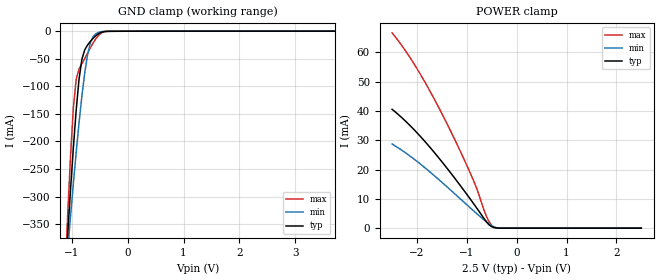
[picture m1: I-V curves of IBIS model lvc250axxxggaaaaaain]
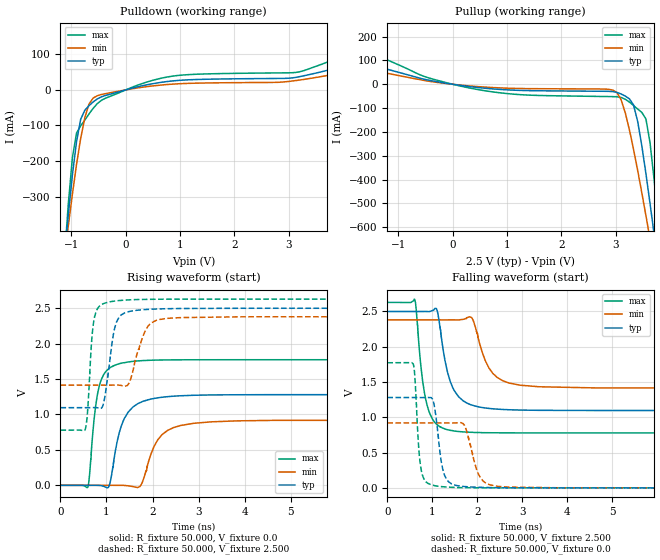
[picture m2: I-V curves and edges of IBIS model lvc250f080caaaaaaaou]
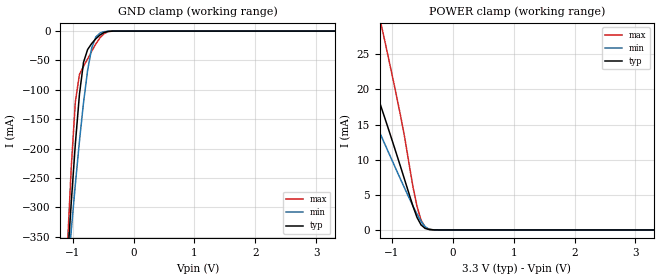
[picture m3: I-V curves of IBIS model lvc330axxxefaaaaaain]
| IBIS Models Generator: Lattice Diamond (64-bit) 3.13.0.56.2
| Generate date: Sun Jun 23 23:00:29 2024
| IBIS File main_fixed.ibs
| Cadence Design Systems, Inc. 2011
[IBIS ver] 3.2
[File Name]   CS_project_CS_imple~.ibs
[File Rev]  0.6
[Date]   Thu Jan 11 10:21:36 CST 2018
[Source]   Lattice Semiconductor cs200fl Process
   LCMXO3D-9400HC   FINAL
   "Test Release - internal Lattice use ONLY"
   Lattice Semiconductor has worked hard to ensure the
   models below are accurate and complete.  However, the
   data below was generated using simulation of the
   input/output model files for the silicon.  Therefore,
   the data below is for reference and initial design
   purposes only.
   Lattice Semiconductor grants permission to use this
   data for use in printed circuit design using this
   Lattice programmable logic device.  Other use of this
   code, including the selling or duplication of any
   portion is strictly prohibited.
|   NAMING CONVENTION
   The IBIS [Model] header is limited by the specification to a
   total of characters.  With such a set of characters available
   for naming models it becomes important to attempt to
   meaningfully encode the IO standards so they fit within the
   twenty character limit.  It would seem that twenty characters
   would provide room enough for describing IO's.  However, the
   PLD IO structure continues to grow more and more complex.  The
   complexity is making the twenty characters insuffiently
   descriptive.  In order to overcome this issue the naming
   convention described below is implemented to resolve the issue.
The twenty character space is managed as follows:
   bbbvvvsdddprugtcoixx
   b = standard
   v = voltage (x.xx V)
   s = slew code
   d = drive (xx.x ma)
   p = pullup code
   r = series resistance  or bank_vccio code
   u = terminate to vcc code
   g = terminate to gnd code
   t = terminate to vtt code
   c = common mode termination mode
   o = diff resistor code
   i = diff resistor current code
   x = reserved
   standard
   LVCMOS   lvc
   lvcmosd   lvd
   lvcmosr   lvr
   LVDS25E   lve
   LVTTL   lvt
   lvttld   ltd
   PCI   pci
   pcix   pcx
   lvds25   lvs
   blvds25   blv
   blvds25e   blv
   mlvds25   mlv
   mlvds25e   mle
   lvpecl   lvp
   lvpecl33   lvp
   lvpecl33e   lvp
   cml   cml
   hypt   hyp
   rsds25   rsd
   rsds25e   rse
   mipi_lp   mip
   mipi   mip
   vref1   vr1
   vref2   vr2
   ref_res   rer
   i3c33   i3c
   i3c18   i3c
   i3c12   i3c
   slew
   na   a
   fast   f
   slow   s
   pullmode
   off   a
   pullup   b
   pulldown   c
   bushold   d
   clamp   e
   up_clamp   f
   down_clamp   g
   keeper_clamp   h
   i3c_clamp   e
   impedance or Bank_vccio
   off   a
   25   b
   33   c
   50   d
   100   e
   3.3   f
   2.5   g
   1.8   h
   1.5   i
   1.2   j
   termVCC
   off   a
   50   b
   100   c
   120   d
   termGND
   off   a
   50   b
   100   c
   120   d
   termVTT
   off   a
   60   b
   75   c
   120   d
   150   e
   210   f
   VCMT
   off   a
   VCMT   b
   VTT   c
   DDR-2   d
   differential resistor
   off   a
   100   b
   diff drive
   NA   a
   2.0   b
   3.5   c
   1.25   f
   2.5   g
   Reserved   IO type
   in   input only
   ou   output
   io   I/O
   od   Open drain
   on   Inverting differential I/O
   (signal name only)
   op   Non-Inverting differential I/O
   (signal name only)
   Lattice Semiconductor Corporation
   5555 NE Moore Court
   Hillsboro, OR 97214
   U.S.A
   TEL: 1-800-Lattice (USA and Canada)
   408-826-6000 (other locations)
   web: http://www.latticesemi.com/
   email: techsupport@latticesemi.com
[Disclaimer]  This IBIS source code is intended as a design reference which
  illustrates how the Lattice Semiconductor device operates. It is the user's
  responsibility to verify their design for consistency and functionality
  through the use of formal verification methods. Lattice Semiconductor
  provides no warranty regarding the use or functionality of this data.
[Copyright] Copyright 2007 by Lattice Semiconductor Corporation
|   Component XO3D
[Component] XO3D
[Manufacturer] Lattice Semiconductor Corp.
[Package]
|CABGA256_9400
|varibale   typ   min   max
R_pkg   230.24m   185.88m   297.14m
L_pkg   3.46nH   2.215nH   5.403nH
C_pkg   0.5928pF   0.3835pF   0.8599pF
[Pin]  signal_name   model_name   R_pin   L_pin   C_pin
F2   BLUE[0]   lvc330f080baaaaaaaou
F1   BLUE[1]   lvc330f080baaaaaaaou
N6   BLUE[2]   lvc250f080caaaaaaaou
N7   BLUE[3]   lvc250f080caaaaaaaou
G2   GREEN[0]   lvc330f080baaaaaaaou
H2   GREEN[1]   lvc330f080baaaaaaaou
J3   GREEN[2]   lvc330f080baaaaaaaou
L7   GREEN[3]   lvc250f080caaaaaaaou
J1   HSYNC   lvc330f080baaaaaaaou
H11   LEDS[0]   lvc330f080baaaaaaaou
J13   LEDS[1]   lvc330f080baaaaaaaou
J11   LEDS[2]   lvc330f080baaaaaaaou
L12   LEDS[3]   lvc330f080baaaaaaaou
K11   LEDS[4]   lvc330f080baaaaaaaou
L13   LEDS[5]   lvc330f080baaaaaaaou
N15   LEDS[6]   lvc330f080baaaaaaaou
P16   LEDS[7]   lvc330f080baaaaaaaou
G1   RED[0]   lvc330f080baaaaaaaou
H1   RED[1]   lvc330f080baaaaaaaou
H3   RED[2]   lvc330f080baaaaaaaou
P7   RED[3]   lvc250f080caaaaaaaou
J2   VSYNC   lvc330f080baaaaaaaou
P1   btnHS   lvc330axxxffaaaaaain
N2   btnUART   lvc330axxxffaaaaaain
R1   btnVGA   lvc330axxxffaaaaaain
P2   btnVS   lvc330axxxffaaaaaain
C8   clk   lvc330axxxefaaaaaain
F5   in   lvc330axxxffaaaaaain
E3   out   lvc330f080baaaaaaaou
L8   rst_n   lvc250axxxggaaaaaain
| Models and submodels in the file (5): lvc250axxxggaaaaaain (Input), lvc250f080caaaaaaaou (Output), lvc330axxxefaaaaaain (Input), lvc330axxxffaaaaaain (Input), lvc330f080baaaaaaaou (Output)
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[Model] lvc250axxxggaaaaaain
Model_type Input
Polarity   Non-Inverting
Enable   Active-High
Vinl =  0.700V
Vinh =  1.700V
C_comp   4.200pF   3.800pF   7.500pF
[Temperature Range]   25.000   0.105k   -40.000
[Voltage Range]   2.500V   2.380V   2.630V
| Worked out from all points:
|   GND clamp passes 1 mA (typ) near -0.43 V on its own axis
|   POWER clamp passes 1 mA (typ) near -0.54 V on its own axis
[GND_clamp]
|Voltage   I(typ)   I(min)   I(max)
-2.5V     -2.99A     -2.35A     -4.091A
-1.123V   -455.1mA   -463.2mA   -453.7mA
-1.072V   -370.5mA   -399.5mA   -336.3mA
-1.021V   -289.2mA   -337.4mA   -228.6mA
-970mV    -212.6mA   -277.4mA   -140mA
-919mV    -143.6mA   -220.1mA   -87.4mA
-868mV    -87.39mA   -166.5mA   -68.45mA
-817mV    -50.94mA   -117.8mA   -59.13mA
-715mV    -24.99mA   -42.37mA   -39.7mA
-562mV    -7.608mA   -4.125mA   -12.95mA
-307mV    -97.66uA   -51.76uA   -173.8uA
5V        114uA      49.35uA    266.8uA
[POWER_clamp]
|Voltage   I(typ)   I(min)   I(max)
-2.5V     40.55mA    28.7mA     66.64mA
-2.294V   37.53mA    26.47mA    62.05mA
-2.039V   33.25mA    23.31mA    55.5mA
-1.58V    24.33mA    16.84mA    41.69mA
-1.223V   16.6mA     11.41mA    29.54mA
-917mV    9.596mA    6.709mA    18.24mA
-815mV    7.18mA     5.166mA    14.11mA
-611mV    2.243mA    2.205mA    4.167mA
-509mV    558uA      921.7uA    1.059mA
-458mV    208uA      438.7uA    350.8uA
-254mV    2.162uA    3.635uA    1.029uA
2.5V      0A         0A         0A
[Model] lvc250f080caaaaaaaou
Model_type Output
Polarity   Non-Inverting
Enable   Active-High
Vmeas =  1.250V
Cref =  0.0F
Rref =  1.000M
Vref =  0.0V
C_comp   4.200pF   3.800pF   7.500pF
[Temperature Range]   25.000   0.105k   -40.000
[Voltage Range]   2.500V   2.380V   2.630V
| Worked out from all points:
|   slope of the pulldown table from 0 to 0.375 V, typ, clamps not added: 27 ohm
|   slope of the pullup table from 0 to 0.375 V, typ, clamps not added: 32.5 ohm
|   rising waveform, R_fixture 50.000, V_fixture 0.0: 20-80 % time 325ps typ, 401ps min, 193ps max; typ from 0 V to 1.28 V
|   rising waveform, R_fixture 50.000, V_fixture 2.500: 20-80 % time 185ps typ, 277ps min, 110ps max; typ from 1.1 V to 2.5 V
|   falling waveform, R_fixture 50.000, V_fixture 2.500: 20-80 % time 303ps typ, 376ps min, 220ps max; typ from 2.5 V to 1.09 V
|   falling waveform, R_fixture 50.000, V_fixture 0.0: 20-80 % time 158ps typ, 243ps min, 103ps max; typ from 1.28 V to 0 V
[Pulldown]
|Voltage   I(typ)   I(min)   I(max)
-2.5V     -2.991A    -2.35A     -4.092A
-1.132V   -475mA     -476.9mA   -485.2mA
-1.056V   -351.6mA   -382.8mA   -321.7mA
-980mV    -239mA     -292.8mA   -190.2mA
-904mV    -145.4mA   -209.4mA   -121mA
-828mV    -82.6mA    -136.3mA   -101mA
-676mV    -44.46mA   -39.99mA   -67.9mA
-524mV    -25.56mA   -16.43mA   -38.82mA
236mV     9.262mA    5.959mA    14.32mA
844mV     24.96mA    16.05mA    38.3mA
3.2V      37.32mA    27.83mA    50.99mA
5V        114.2mA    81.55mA    172.5mA
[Pullup]
|Voltage   I(typ)   I(min)   I(max)
-2.5V     142.5mA    103.1mA    233mA
-548mV    22.43mA    17.12mA    35.15mA
136mV     -4.464mA   -3.242mA   -7.127mA
2.948V    -30.82mA   -24.51mA   -51.85mA
3.1V      -40.88mA   -65.28mA   -55.33mA
3.328V    -86.97mA   -272.6mA   -88.95mA
3.404V    -155.7mA   -361.4mA   -104.1mA
3.556V    -375mA     -551.2mA   -145.3mA
3.632V    -500.8mA   -649.9mA   -245.9mA
3.708V    -631.5mA   -750.2mA   -403.3mA
3.784V    -765.1mA   -851.7mA   -581.6mA
5V        -3.022A    -2.541A    -3.796A
[Ramp]
| variable   typ   min   max
dV/dt_r   0.768/0.324n   0.552/0.395n   1.063/0.189n
dV/dt_f   0.842/0.305n   0.580/0.364n   1.109/0.219n
R_load = 50.000
[Rising Waveform]
R_fixture= 50.000
V_fixture= 0.0
V_fixture_min= 0.0
V_fixture_max= 0.0
|time   V(typ)   V(min)   V(max)
0s        6.01nV     44.68nV    20.69nV
596ps     41.6uV     -3.088uV   -23.3mV
798ps     -160.4uV   -3.088uV   1.262V
1.039ns   -29.88mV   21.18uV    1.64V
1.28ns    749.3mV    29.94uV    1.716V
1.471ns   1.033V     -7.047mV   1.74V
1.752ns   1.173V     6.728mV    1.758V
2.208ns   1.243V     715.9mV    1.768V
3.27ns    1.275V     895.4mV    1.772V
20ns      1.279V     919.6mV    1.772V
[Rising Waveform]
R_fixture= 50.000
V_fixture= 2.500
V_fixture_min= 2.380
V_fixture_max= 2.630
|time   V(typ)   V(min)   V(max)
0s        1.096V     1.413V     778.2mV
541ps     1.096V     1.413V     794.5mV
588ps     1.096V     1.413V     1.033V
711ps     1.096V     1.413V     2.261V
891ps     1.088V     1.413V     2.549V
1.174ns   2.208V     1.414V     2.599V
1.455ns   2.446V     1.409V     2.615V
1.842ns   2.48V      2.18V      2.623V
2.313ns   2.492V     2.355V     2.626V
20ns      2.498V     2.379V     2.627V
[Falling Waveform]
R_fixture= 50.000
V_fixture= 2.500
V_fixture_min= 2.380
V_fixture_max= 2.630
|time   V(typ)   V(min)   V(max)
0s        2.498V     2.379V     2.627V
611ps     2.498V     2.379V     2.667V
824ps     2.499V     2.379V     1.349V
1.088ns   2.54V      2.379V     905.1mV
1.337ns   1.639V     2.379V     823.5mV
1.492ns   1.372V     2.379V     804.5mV
1.872ns   1.174V     2.413V     787mV
2.446ns   1.115V     1.561V     780mV
3.371ns   1.098V     1.432V     778.3mV
20ns      1.095V     1.413V     778.1mV
[Falling Waveform]
R_fixture= 50.000
V_fixture= 0.0
V_fixture_min= 0.0
V_fixture_max= 0.0
|time   V(typ)   V(min)   V(max)
0s        1.279V     919.6mV    1.772V
576ps     1.279V     919.6mV    1.755V
757ps     1.279V     919.7mV    240.1mV
1.004ns   1.258V     919.7mV    38.03mV
1.132ns   737.5mV    919.7mV    22.84mV
1.363ns   84.43mV    919.6mV    10.49mV
1.712ns   18.47mV    887.9mV    2.883mV
2.072ns   7.463mV    139.6mV    877uV
2.463ns   2.682mV    20.37mV    272uV
20ns      29.05nV    -114.2nV   -345.8nV
[Model] lvc330axxxefaaaaaain
Model_type Input
Polarity   Non-Inverting
Enable   Active-High
Vinl =  0.800V
Vinh =  2.000V
C_comp   4.200pF   3.800pF   7.500pF
[Temperature Range]   25.000   0.105k   -40.000
[Voltage Range]   3.300V   3.140V   3.470V
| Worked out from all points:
|   GND clamp passes 1 mA (typ) near -0.43 V on its own axis
|   POWER clamp passes 1 mA (typ) near -0.54 V on its own axis
[GND_clamp]
|Voltage   I(typ)   I(min)   I(max)
-3.3V     -4.507A    -3.482A    -6.263A
-1.089V   -398.4mA   -420.6mA   -374.7mA
-1.022V   -290.7mA   -338.6mA   -230.6mA
-955mV    -191.3mA   -260.2mA   -120mA
-888mV    -107.5mA   -187mA     -73.64mA
-821mV    -52.96mA   -121.4mA   -59.79mA
-754mV    -31.36mA   -66.92mA   -47.4mA
-687mV    -21.12mA   -28.79mA   -34.18mA
-620mV    -13.16mA   -10.19mA   -21.93mA
-553mV    -6.814mA   -3.53mA    -11.64mA
-352mV    -96.36uA   -46.21uA   -149.8uA
3.3V      0A         0A         0A
[POWER_clamp]
|Voltage   I(typ)   I(min)   I(max)
-3.3V     59.07mA    46.89mA    89.53mA
-1.993V   37.2mA     28.86mA    58.21mA
-1.926V   35.72mA    27.66mA    56.06mA
-1.591V   27.93mA    21.43mA    44.68mA
-1.189V   17.86mA    13.66mA    29.77mA
-1.122V   16.11mA    12.35mA    27.14mA
-988mV    12.56mA    9.745mA    21.76mA
-787mV    7.078mA    5.887mA    13.07mA
-586mV    1.773mA    2.247mA    3.338mA
-519mV    707uA      1.205mA    1.383mA
-452mV    214.8uA    435.5uA    392.3uA
3.3V      0A         0A         0A
